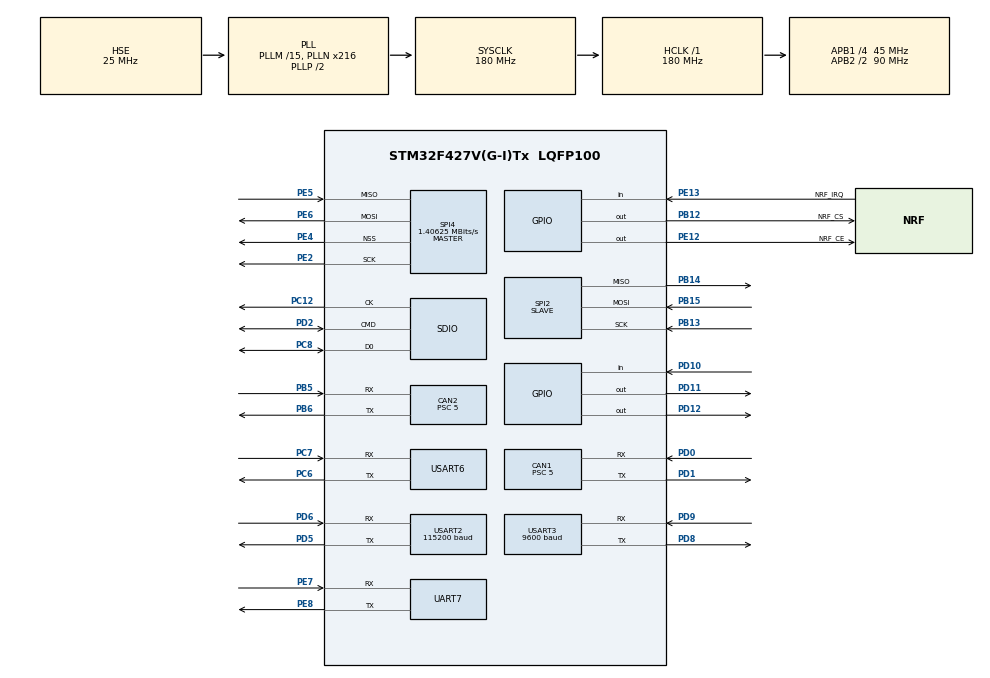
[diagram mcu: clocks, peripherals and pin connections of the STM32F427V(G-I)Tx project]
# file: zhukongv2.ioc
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CAN1.BS1=CAN_BS1_7TQ
CAN1.CalculateBaudRate=1000000
CAN1.CalculateTimeBit=1000
CAN1.CalculateTimeQuantum=111.11111111111111
CAN1.Prescaler=5
CAN1.RFLM=DISABLE
CAN2.BS1=CAN_BS1_7TQ
CAN2.CalculateBaudRate=1000000
CAN2.CalculateTimeBit=1000
CAN2.CalculateTimeQuantum=111.11111111111111
CAN2.Prescaler=5
CAN2.RFLM=DISABLE
Dma.Request0=USART6_RX
Dma.Request1=USART3_RX
Dma.USART3_RX.1.Direction=DMA_PERIPH_TO_MEMORY
Dma.USART3_RX.1.FIFOMode=DMA_FIFOMODE_DISABLE
Dma.USART3_RX.1.Instance=DMA1_Stream1
Dma.USART3_RX.1.MemDataAlignment=DMA_MDATAALIGN_BYTE
Dma.USART3_RX.1.MemInc=DMA_MINC_ENABLE
Dma.USART3_RX.1.Mode=DMA_CIRCULAR
Dma.USART3_RX.1.PeriphDataAlignment=DMA_PDATAALIGN_BYTE
Dma.USART3_RX.1.PeriphInc=DMA_PINC_DISABLE
Dma.USART3_RX.1.Priority=DMA_PRIORITY_LOW
Dma.USART6_RX.0.Direction=DMA_PERIPH_TO_MEMORY
Dma.USART6_RX.0.FIFOMode=DMA_FIFOMODE_DISABLE
Dma.USART6_RX.0.Instance=DMA2_Stream1
Dma.USART6_RX.0.MemDataAlignment=DMA_MDATAALIGN_BYTE
Dma.USART6_RX.0.MemInc=DMA_MINC_ENABLE
Dma.USART6_RX.0.Mode=DMA_CIRCULAR
Dma.USART6_RX.0.PeriphDataAlignment=DMA_PDATAALIGN_BYTE
Dma.USART6_RX.0.PeriphInc=DMA_PINC_DISABLE
Dma.USART6_RX.0.Priority=DMA_PRIORITY_LOW
FATFS._CODE_PAGE=936
FATFS._MAX_SS=4096
FATFS._USE_CHMOD=1
FATFS._USE_EXPAND=1
FATFS._USE_FIND=1
FATFS._USE_FORWARD=1
FATFS._USE_LABEL=1
FATFS._USE_LFN=2
FATFS._VOLUMES=2
FREERTOS.Tasks01=defaultTask,8,128,StartDefaultTask,Default,NULL,Dynamic,NULL,NULL;TrotForward,24,256,TrotForwardTask,Default,NULL,Dynamic,NULL,NULL;TrotBack,24,256,TrotBackTask,Default,NULL,Dynamic,NULL,NULL;RotateLeft,24,256,RotateLeftTask,Default,NULL,Dynamic,NULL,NULL;RotateRight,24,256,RotateRightTask,Default,NULL,Dynamic,NULL,NULL;MoveLeft,32,256,MoveLeftTask,Default,NULL,Dynamic,NULL,NULL;MoveRight,24,256,MoveRightTask,Default,NULL,Dynamic,NULL,NULL;JumpUp,24,256,JumpUpTask,Default,NULL,Dynamic,NULL,NULL;JumpForward,24,256,JumpForwardTask,Default,NULL,Dynamic,NULL,NULL;WalkSlope,24,512,WalkSlopeTask,Default,NULL,Dynamic,NULL,NULL;WalkSlope_LR,24,512,WalkSlopeLRTask,Default,NULL,Dynamic,NULL,NULL;Stand,24,128,StandTask,Default,NULL,Dynamic,NULL,NULL;ParseHandle,32,128,ParseHandleTask,Default,NULL,Dynamic,NULL,NULL;ParseIMU,32,128,ParseIMUTask,Default,NULL,Dynamic,NULL,NULL;NotifyAction,32,128,NotifyActionTask,Default,NULL,Dynamic,NULL,NULL;ParseCamera,32,128,ParseCameraTask,Default,NULL,Dynamic,NULL,NULL;TurnLeft,24,256,TurnLeftTask,Default,NULL,Dynamic,NULL,NULL;TurnRight,24,256,TurnRightTask,Default,NULL,Dynamic,NULL,NULL
FREERTOS.configCHECK_FOR_STACK_OVERFLOW=2
FREERTOS.configTOTAL_HEAP_SIZE=30000
Mcu.Family=STM32F4
Mcu.Name=STM32F427V(G-I)Tx
Mcu.Package=LQFP100
NVIC.CAN1_RX0_IRQn=true\:5\:0\:false\:false\:true\:true\:true\:true\:true
NVIC.CAN1_RX1_IRQn=true\:5\:0\:false\:false\:true\:true\:true\:true\:true
NVIC.CAN2_RX0_IRQn=true\:5\:0\:false\:false\:true\:true\:true\:true\:true
NVIC.CAN2_RX1_IRQn=true\:5\:0\:false\:false\:true\:true\:true\:true\:true
NVIC.DMA1_Stream1_IRQn=true\:5\:0\:false\:false\:true\:true\:false\:true\:true
NVIC.DMA2_Stream1_IRQn=true\:5\:0\:false\:false\:true\:true\:false\:true\:true
NVIC.PriorityGroup=NVIC_PRIORITYGROUP_4
NVIC.SDIO_IRQn=true\:5\:0\:false\:false\:true\:true\:true\:true\:true
NVIC.SPI4_IRQn=true\:5\:0\:false\:false\:true\:true\:true\:true\:true
NVIC.TIM2_IRQn=true\:5\:0\:true\:false\:true\:true\:true\:true\:true
NVIC.USART2_IRQn=true\:5\:0\:false\:false\:true\:true\:true\:true\:true
NVIC.USART3_IRQn=true\:5\:0\:false\:false\:true\:true\:true\:true\:true
NVIC.USART6_IRQn=true\:5\:0\:false\:false\:true\:true\:true\:true\:true
PA13.Mode=Serial_Wire
PA13.Signal=SYS_JTMS-SWDIO
PA14.Mode=Serial_Wire
PA14.Signal=SYS_JTCK-SWCLK
PB12.GPIO_Label=NRF_CS
PB12.GPIO_Speed=GPIO_SPEED_FREQ_HIGH
PB12.PinState=GPIO_PIN_SET
PB12.Signal=GPIO_Output
PB13.Mode=Full_Duplex_Slave
PB13.Signal=SPI2_SCK
PB14.Mode=Full_Duplex_Slave
PB14.Signal=SPI2_MISO
PB15.Mode=Full_Duplex_Slave
PB15.Signal=SPI2_MOSI
PB5.GPIO_PuPd=GPIO_NOPULL
PB5.Mode=CAN_Activate
PB5.Signal=CAN2_RX
PB6.GPIO_PuPd=GPIO_NOPULL
PB6.Mode=CAN_Activate
PB6.Signal=CAN2_TX
PC12.Mode=SD_1_bit
PC12.Signal=SDIO_CK
PC6.Mode=Asynchronous
PC6.Signal=USART6_TX
PC7.Mode=Asynchronous
PC7.Signal=USART6_RX
PC8.Mode=SD_1_bit
PC8.Signal=SDIO_D0
PD0.GPIO_PuPd=GPIO_NOPULL
PD0.Mode=CAN_Activate
PD0.Signal=CAN1_RX
PD1.GPIO_PuPd=GPIO_NOPULL
PD1.Mode=CAN_Activate
PD1.Signal=CAN1_TX
PD10.Signal=GPIO_Input
PD11.GPIO_PuPd=GPIO_PULLUP
PD11.Signal=GPIO_Output
PD12.GPIO_PuPd=GPIO_PULLUP
PD12.PinState=GPIO_PIN_SET
PD12.Signal=GPIO_Output
PD2.Mode=SD_1_bit
PD2.Signal=SDIO_CMD
PD5.Mode=Asynchronous
PD5.Signal=USART2_TX
PD6.Mode=Asynchronous
PD6.Signal=USART2_RX
PD8.Mode=Asynchronous
PD8.Signal=USART3_TX
PD9.Mode=Asynchronous
PD9.Signal=USART3_RX
PE12.GPIO_Label=NRF_CE
PE12.GPIO_Speed=GPIO_SPEED_FREQ_HIGH
PE12.PinState=GPIO_PIN_SET
PE12.Signal=GPIO_Output
PE13.GPIO_Label=NRF_IRQ
PE13.GPIO_PuPd=GPIO_PULLUP
PE13.Signal=GPIO_Input
PE2.Mode=Full_Duplex_Master
PE2.Signal=SPI4_SCK
PE4.Mode=NSS_Signal_Hard_Output
PE4.Signal=SPI4_NSS
PE5.Mode=Full_Duplex_Master
PE5.Signal=SPI4_MISO
PE6.Mode=Full_Duplex_Master
PE6.Signal=SPI4_MOSI
PE7.Mode=Asynchronous
PE7.Signal=UART7_RX
PE8.Mode=Asynchronous
PE8.Signal=UART7_TX
PH0/OSC_IN.Mode=HSE-External-Oscillator
PH0/OSC_IN.Signal=RCC_OSC_IN
PH1/OSC_OUT.Mode=HSE-External-Oscillator
PH1/OSC_OUT.Signal=RCC_OSC_OUT
ProjectManager.HeapSize=0x200
ProjectManager.StackSize=0x400
ProjectManager.TargetToolchain=EWARM V8.32
RCC.48MHZClocksFreq_Value=45000000
RCC.AHBFreq_Value=180000000
RCC.APB1CLKDivider=RCC_HCLK_DIV4
RCC.APB1Freq_Value=45000000
RCC.APB1TimFreq_Value=90000000
RCC.APB2CLKDivider=RCC_HCLK_DIV2
RCC.APB2Freq_Value=90000000
RCC.APB2TimFreq_Value=180000000
RCC.CortexFreq_Value=180000000
RCC.HCLKFreq_Value=180000000
RCC.HSE_VALUE=25000000
RCC.HSI_VALUE=16000000
RCC.LSE_VALUE=32768
RCC.PLLM=15
RCC.PLLN=216
RCC.PLLQ=8
RCC.PLLSourceVirtual=RCC_PLLSOURCE_HSE
RCC.SYSCLKFreq_VALUE=180000000
RCC.SYSCLKSource=RCC_SYSCLKSOURCE_PLLCLK
RCC.VCOOutputFreq_Value=360000000
SPI2.Direction=SPI_DIRECTION_2LINES
SPI2.Mode=SPI_MODE_SLAVE
SPI2.VirtualType=VM_SLAVE
SPI4.BaudRatePrescaler=SPI_BAUDRATEPRESCALER_64
SPI4.CalculateBaudRate=1.40625 MBits/s
SPI4.Direction=SPI_DIRECTION_2LINES
SPI4.Mode=SPI_MODE_MASTER
SPI4.VirtualNSS=VM_NSSHARD
SPI4.VirtualType=VM_MASTER
TIM2.AutoReloadPreload=TIM_AUTORELOAD_PRELOAD_ENABLE
TIM2.Channel-Output\ Compare1\ No\ Output=TIM_CHANNEL_1
TIM2.Period=199
TIM2.Prescaler=89
UART7.VirtualMode=Asynchronous
USART2.BaudRate=115200
USART2.VirtualMode=VM_ASYNC
USART3.BaudRate=9600
USART3.VirtualMode=VM_ASYNC
USART6.VirtualMode=VM_ASYNC
VP_FATFS_VS_Generic.Mode=User_defined
VP_FATFS_VS_SDIO.Mode=SDIO
VP_FREERTOS_VS_CMSIS_V2.Mode=CMSIS_V2
VP_TIM2_VS_no_output1.Mode=Output Compare1 No Output
board=custom

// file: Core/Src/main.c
/* USER CODE BEGIN Header */
/**
  ******************************************************************************
  * @file           : main.c
  * @brief          : Main program body
  ******************************************************************************
  * @attention
  *
  * Copyright (c) 2025 STMicroelectronics.
  * All rights reserved.
  *
  * This software is licensed under terms that can be found in the LICENSE file
  * in the root directory of this software component.
  * If no LICENSE file comes with this software, it is provided AS-IS.
  *
  ******************************************************************************
  */
/* USER CODE END Header */
#include "main.h"
#include "cmsis_os.h"
#include "can.h"
#include "dma.h"
#include "fatfs.h"
#include "sdio.h"
#include "spi.h"
#include "tim.h"
#include "usart.h"
#include "gpio.h"

/* USER CODE BEGIN Includes */

#include "DeepJ60_Motor.h"
#include "GaitController.h"
#include "Handle.h"
#include "imu.h"
#include "Camera.h"
#include "nrf.h"

/* USER CODE END Includes */

/* USER CODE BEGIN PV */

QueueHandle_t cmd_queue = NULL;
QueueHandle_t imu_queue = NULL;
QueueHandle_t camera_queue = NULL;
uint8_t rx_cmd[HANDLE_DATA_SIZE];

/* USER CODE END PV */

void SystemClock_Config(void);
void MX_FREERTOS_Init(void);

int main(void)
{

  /* MCU Configuration--------------------------------------------------------*/

  /* Reset of all peripherals, Initializes the Flash interface and the Systick. */
  HAL_Init();

  /* Configure the system clock */
  SystemClock_Config();

  /* Initialize all configured peripherals */
  MX_GPIO_Init();
  MX_DMA_Init();
  MX_CAN1_Init();
  MX_CAN2_Init();
  MX_SPI4_Init();
  MX_TIM2_Init();
  MX_SDIO_SD_Init();
  MX_FATFS_Init();
  MX_UART7_Init();
  MX_USART3_UART_Init();
  MX_USART6_UART_Init();
  MX_USART2_UART_Init();
  MX_SPI2_Init();
  /* USER CODE BEGIN 2 */

  HAL_Delay(4000);

  EnableJ60Motor(&J60Motor_CAN1[0], 1, 1); // lf out
  EnableJ60Motor(&J60Motor_CAN1[1], 2, 1); // lf in
  EnableJ60Motor(&J60Motor_CAN2[0], 1, 2); // rb out
  EnableJ60Motor(&J60Motor_CAN2[1], 2, 2); // rb in

  HAL_Delay(1);
  RunJ60Motor(&J60Motor_CAN1[0], J60Motor_StandUpData_CAN1[0], 0, 0, 20, 4, PositionMode);
  HAL_Delay(1);
  RunJ60Motor(&J60Motor_CAN1[1], J60Motor_StandUpData_CAN1[1], 0, 0, 20, 4, PositionMode);
  HAL_Delay(1);
  RunJ60Motor(&J60Motor_CAN2[0], J60Motor_StandUpData_CAN2[0], 0, 0, 20, 4, PositionMode);
  HAL_Delay(1);
  RunJ60Motor(&J60Motor_CAN2[1], J60Motor_StandUpData_CAN2[1], 0, 0, 20, 4, PositionMode);

  HAL_Delay(2000);

  HAL_UARTEx_ReceiveToIdle_DMA(&huart3, (uint8_t*)dma_buffer, DMA_BUFFER_SIZE);
  // HAL_UARTEx_Receive_DMA(&huart6, (uint8_t*)dma_buffer, DMA_BUFFER_SIZE);
  HAL_UART_Receive_IT(&huart2, (uint8_t*)rx_bytes, RX_BTYES_LENGTH);

  cmd_queue = xQueueCreate(10, sizeof(uint8_t) * HANDLE_DATA_SIZE);
  imu_queue = xQueueCreate(10, sizeof(uint8_t) * IMU_DATA_SIZE);
  camera_queue = xQueueCreate(10, sizeof(uint8_t) * RX_BTYES_LENGTH);

  /* USER CODE END 2 */

  /* Init scheduler */
  osKernelInitialize();

  /* Call init function for freertos objects (in cmsis_os2.c) */
  MX_FREERTOS_Init();

  /* Start scheduler */
  osKernelStart();

  /* We should never get here as control is now taken by the scheduler */

  /* Infinite loop */
  /* USER CODE BEGIN WHILE */
  while (1)
  {
      // HAL_Delay(1);
      // RunJ60Motor(&J60Motor_CAN1[0], 0, 0, 0, 0, 0, ZeroTorqueMode);
      // HAL_Delay(1);
      // RunJ60Motor(&J60Motor_CAN1[1], 0, 0, 0, 0, 0, ZeroTorqueMode);
      // HAL_Delay(1);
      // RunJ60Motor(&J60Motor_CAN2[0], 0, 0, 0, 0, 0, ZeroTorqueMode);
      // HAL_Delay(1);
      // RunJ60Motor(&J60Motor_CAN2[1], 0, 0, 0, 0, 0, ZeroTorqueMode);
    // HAL_UART_Receive(&huart3, (uint8_t*)dma_buffer, DMA_BUFFER_SIZE, 1000);
    // NRF24L01_RxPacket((uint8_t*)rx_cmd);
    /* USER CODE END WHILE */

  }
}

void SystemClock_Config(void)
{
  RCC_OscInitTypeDef RCC_OscInitStruct = {0};
  RCC_ClkInitTypeDef RCC_ClkInitStruct = {0};

  /** Configure the main internal regulator output voltage
  */
  __HAL_RCC_PWR_CLK_ENABLE();
  __HAL_PWR_VOLTAGESCALING_CONFIG(PWR_REGULATOR_VOLTAGE_SCALE1);

  /** Initializes the RCC Oscillators according to the specified parameters
  * in the RCC_OscInitTypeDef structure.
  */
  RCC_OscInitStruct.OscillatorType = RCC_OSCILLATORTYPE_HSE;
  RCC_OscInitStruct.HSEState = RCC_HSE_ON;
  RCC_OscInitStruct.PLL.PLLState = RCC_PLL_ON;
  RCC_OscInitStruct.PLL.PLLSource = RCC_PLLSOURCE_HSE;
  RCC_OscInitStruct.PLL.PLLM = 15;
  RCC_OscInitStruct.PLL.PLLN = 216;
  RCC_OscInitStruct.PLL.PLLP = RCC_PLLP_DIV2;
  RCC_OscInitStruct.PLL.PLLQ = 8;
  if (HAL_RCC_OscConfig(&RCC_OscInitStruct) != HAL_OK)
  {
    Error_Handler();
  }

  /** Activate the Over-Drive mode
  */
  if (HAL_PWREx_EnableOverDrive() != HAL_OK)
  {
    Error_Handler();
  }

  /** Initializes the CPU, AHB and APB buses clocks
  */
  RCC_ClkInitStruct.ClockType = RCC_CLOCKTYPE_HCLK|RCC_CLOCKTYPE_SYSCLK
                              |RCC_CLOCKTYPE_PCLK1|RCC_CLOCKTYPE_PCLK2;
  RCC_ClkInitStruct.SYSCLKSource = RCC_SYSCLKSOURCE_PLLCLK;
  RCC_ClkInitStruct.AHBCLKDivider = RCC_SYSCLK_DIV1;
  RCC_ClkInitStruct.APB1CLKDivider = RCC_HCLK_DIV4;
  RCC_ClkInitStruct.APB2CLKDivider = RCC_HCLK_DIV2;

  if (HAL_RCC_ClockConfig(&RCC_ClkInitStruct, FLASH_LATENCY_5) != HAL_OK)
  {
    Error_Handler();
  }
}

void Error_Handler(void)
{
  __disable_irq();
  while (1)
  {
  }
}

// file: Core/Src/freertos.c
/* USER CODE BEGIN Header */
/**
  ******************************************************************************
  * File Name          : freertos.c
  * Description        : Code for freertos applications
  ******************************************************************************
  * @attention
  *
  * Copyright (c) 2025 STMicroelectronics.
  * All rights reserved.
  *
  * This software is licensed under terms that can be found in the LICENSE file
  * in the root directory of this software component.
  * If no LICENSE file comes with this software, it is provided AS-IS.
  *
  ******************************************************************************
  */
/* USER CODE END Header */

#include "FreeRTOS.h"
#include "task.h"
#include "main.h"
#include "cmsis_os.h"

/* USER CODE BEGIN Includes */

#include "GaitController.h"
#include "Handle.h"
#include "imu.h"
#include "Camera.h"
#include "nrf.h"
#include "tim.h"
#include "math.h"
#include "param.h"
#include "foot_attitude_calculation.h"

/* USER CODE END Includes */

/* USER CODE BEGIN PM */

#define START_ACTION 2
#define END_ACTION 1
#define START_JUMP_1 3

#define INIT_TROT_LENGTH 0.2f
#define MAX_TROT_LENGTH 0.3f

/* USER CODE END PM */

/* USER CODE BEGIN Variables */

osThreadId_t TaskHandle = NULL;
int is_stack_overflow = 0;

float trot_length = INIT_TROT_LENGTH;

int tim_callback = 0;

//uint8_t rx_cmd[HANDLE_DATA_SIZE];

/* USER CODE END Variables */
/* Definitions for defaultTask */
osThreadId_t defaultTaskHandle;
const osThreadAttr_t defaultTask_attributes = {
  .name = "defaultTask",
  .stack_size = 128 * 4,
  .priority = (osPriority_t) osPriorityLow,
};
/* Definitions for TrotForward */
osThreadId_t TrotForwardHandle;
const osThreadAttr_t TrotForward_attributes = {
  .name = "TrotForward",
  .stack_size = 256 * 4,
  .priority = (osPriority_t) osPriorityNormal,
};
/* Definitions for TrotBack */
osThreadId_t TrotBackHandle;
const osThreadAttr_t TrotBack_attributes = {
  .name = "TrotBack",
  .stack_size = 256 * 4,
  .priority = (osPriority_t) osPriorityNormal,
};
/* Definitions for RotateLeft */
osThreadId_t RotateLeftHandle;
const osThreadAttr_t RotateLeft_attributes = {
  .name = "RotateLeft",
  .stack_size = 256 * 4,
  .priority = (osPriority_t) osPriorityNormal,
};
/* Definitions for RotateRight */
osThreadId_t RotateRightHandle;
const osThreadAttr_t RotateRight_attributes = {
  .name = "RotateRight",
  .stack_size = 256 * 4,
  .priority = (osPriority_t) osPriorityNormal,
};
/* Definitions for MoveLeft */
osThreadId_t MoveLeftHandle;
const osThreadAttr_t MoveLeft_attributes = {
  .name = "MoveLeft",
  .stack_size = 256 * 4,
  .priority = (osPriority_t) osPriorityAboveNormal,
};
/* Definitions for MoveRight */
osThreadId_t MoveRightHandle;
const osThreadAttr_t MoveRight_attributes = {
  .name = "MoveRight",
  .stack_size = 256 * 4,
  .priority = (osPriority_t) osPriorityNormal,
};
/* Definitions for JumpUp */
osThreadId_t JumpUpHandle;
const osThreadAttr_t JumpUp_attributes = {
  .name = "JumpUp",
  .stack_size = 256 * 4,
  .priority = (osPriority_t) osPriorityNormal,
};
/* Definitions for JumpForward */
osThreadId_t JumpForwardHandle;
const osThreadAttr_t JumpForward_attributes = {
  .name = "JumpForward",
  .stack_size = 256 * 4,
  .priority = (osPriority_t) osPriorityNormal,
};
/* Definitions for WalkSlope */
osThreadId_t WalkSlopeHandle;
const osThreadAttr_t WalkSlope_attributes = {
  .name = "WalkSlope",
  .stack_size = 512 * 4,
  .priority = (osPriority_t) osPriorityNormal,
};
/* Definitions for WalkSlope_LR */
osThreadId_t WalkSlope_LRHandle;
const osThreadAttr_t WalkSlope_LR_attributes = {
  .name = "WalkSlope_LR",
  .stack_size = 512 * 4,
  .priority = (osPriority_t) osPriorityNormal,
};
/* Definitions for Stand */
osThreadId_t StandHandle;
const osThreadAttr_t Stand_attributes = {
  .name = "Stand",
  .stack_size = 128 * 4,
  .priority = (osPriority_t) osPriorityNormal,
};
/* Definitions for ParseHandle */
osThreadId_t ParseHandleHandle;
const osThreadAttr_t ParseHandle_attributes = {
  .name = "ParseHandle",
  .stack_size = 128 * 4,
  .priority = (osPriority_t) osPriorityAboveNormal,
};
/* Definitions for ParseIMU */
osThreadId_t ParseIMUHandle;
const osThreadAttr_t ParseIMU_attributes = {
  .name = "ParseIMU",
  .stack_size = 128 * 4,
  .priority = (osPriority_t) osPriorityAboveNormal,
};
/* Definitions for NotifyAction */
osThreadId_t NotifyActionHandle;
const osThreadAttr_t NotifyAction_attributes = {
  .name = "NotifyAction",
  .stack_size = 128 * 4,
  .priority = (osPriority_t) osPriorityAboveNormal,
};
/* Definitions for ParseCamera */
osThreadId_t ParseCameraHandle;
const osThreadAttr_t ParseCamera_attributes = {
  .name = "ParseCamera",
  .stack_size = 128 * 4,
  .priority = (osPriority_t) osPriorityAboveNormal,
};
/* Definitions for TurnLeft */
osThreadId_t TurnLeftHandle;
const osThreadAttr_t TurnLeft_attributes = {
  .name = "TurnLeft",
  .stack_size = 256 * 4,
  .priority = (osPriority_t) osPriorityNormal,
};
/* Definitions for TurnRight */
osThreadId_t TurnRightHandle;
const osThreadAttr_t TurnRight_attributes = {
  .name = "TurnRight",
  .stack_size = 256 * 4,
  .priority = (osPriority_t) osPriorityNormal,
};

void StartDefaultTask(void *argument);
void TrotForwardTask(void *argument);
void TrotBackTask(void *argument);
void RotateLeftTask(void *argument);
void RotateRightTask(void *argument);
void MoveLeftTask(void *argument);
void MoveRightTask(void *argument);
void JumpUpTask(void *argument);
void JumpForwardTask(void *argument);
void WalkSlopeTask(void *argument);
void WalkSlopeLRTask(void *argument);
void StandTask(void *argument);
void ParseHandleTask(void *argument);
void ParseIMUTask(void *argument);
void NotifyActionTask(void *argument);
void ParseCameraTask(void *argument);
void TurnLeftTask(void *argument);
void TurnRightTask(void *argument);

void MX_FREERTOS_Init(void); /* (MISRA C 2004 rule 8.1) */

/* Hook prototypes */
void vApplicationStackOverflowHook(xTaskHandle xTask, signed char *pcTaskName);

/* USER CODE BEGIN 4 */
void vApplicationStackOverflowHook(xTaskHandle xTask, signed char *pcTaskName)
{
   /* Run time stack overflow checking is performed if
   configCHECK_FOR_STACK_OVERFLOW is defined to 1 or 2. This hook function is
   called if a stack overflow is detected. */
   is_stack_overflow = 1;
   while (1);
}
/* USER CODE END 4 */

void MX_FREERTOS_Init(void) {

  /* Create the thread(s) */
  /* creation of defaultTask */
  defaultTaskHandle = osThreadNew(StartDefaultTask, NULL, &defaultTask_attributes);

  /* creation of TrotForward */
  TrotForwardHandle = osThreadNew(TrotForwardTask, NULL, &TrotForward_attributes);

  /* creation of TrotBack */
  TrotBackHandle = osThreadNew(TrotBackTask, NULL, &TrotBack_attributes);

  /* creation of RotateLeft */
  RotateLeftHandle = osThreadNew(RotateLeftTask, NULL, &RotateLeft_attributes);

  /* creation of RotateRight */
  RotateRightHandle = osThreadNew(RotateRightTask, NULL, &RotateRight_attributes);

  /* creation of MoveLeft */
  MoveLeftHandle = osThreadNew(MoveLeftTask, NULL, &MoveLeft_attributes);

  /* creation of MoveRight */
  MoveRightHandle = osThreadNew(MoveRightTask, NULL, &MoveRight_attributes);

  /* creation of JumpUp */
  JumpUpHandle = osThreadNew(JumpUpTask, NULL, &JumpUp_attributes);

  /* creation of JumpForward */
  JumpForwardHandle = osThreadNew(JumpForwardTask, NULL, &JumpForward_attributes);

  /* creation of WalkSlope */
  WalkSlopeHandle = osThreadNew(WalkSlopeTask, NULL, &WalkSlope_attributes);

  /* creation of WalkSlope_LR */
  WalkSlope_LRHandle = osThreadNew(WalkSlopeLRTask, NULL, &WalkSlope_LR_attributes);

  /* creation of Stand */
  StandHandle = osThreadNew(StandTask, NULL, &Stand_attributes);

  /* creation of ParseHandle */
  ParseHandleHandle = osThreadNew(ParseHandleTask, NULL, &ParseHandle_attributes);

  /* creation of ParseIMU */
  ParseIMUHandle = osThreadNew(ParseIMUTask, NULL, &ParseIMU_attributes);

  /* creation of NotifyAction */
  NotifyActionHandle = osThreadNew(NotifyActionTask, NULL, &NotifyAction_attributes);

  /* creation of ParseCamera */
  ParseCameraHandle = osThreadNew(ParseCameraTask, NULL, &ParseCamera_attributes);

  /* creation of TurnLeft */
  TurnLeftHandle = osThreadNew(TurnLeftTask, NULL, &TurnLeft_attributes);

  /* creation of TurnRight */
  TurnRightHandle = osThreadNew(TurnRightTask, NULL, &TurnRight_attributes);

}

void StartDefaultTask(void *argument)
{
  for(;;)
  {
    osDelay(1);
  }
}

void TrotForwardTask(void *argument)
{
  /* USER CODE BEGIN TrotForwardTask */

  uint32_t notify_value = 0;
  float coef = trot_param.length / 125;
  float coef_turn = 0.1 / 125;
  float trot_height = 0.03;

  /* Infinite loop */
  for(;;)
  {
    if (xTaskNotifyWait(0, 0, &notify_value, 0) == pdTRUE) {
      if (notify_value == START_ACTION) {
        if (handle_command[0] == TROT_FORWARD_CMD || handle_command[0] == JUMP_UP_CMD) {
          if (trot_controller.trot_state == EndTrot) {
            trot_controller.trot_state = PreTrot;
            trot_controller.trot_direction = Forward;
            t = 0;
          }
        }
        else {
          if (turn_controller.turn_state == EndTurn) {
            turn_controller.turn_state = PreTurn;
            t = 0;
          }
        }
      }
      else if (notify_value == END_ACTION) {
        if (turn_controller.turn_state == Turning || trot_controller.trot_state == Trotting) {
          isStop = NEED_TO_STOP;
        }
      }

      if (turn_controller.turn_state != EndTurn) {

        trot_length = coef * abs(handle_command[2] - 125);

        if (handle_command[3] - 125 > 0) {
          turn_controller.turn_angular_direction = TurnRight;
          left_length = trot_length + coef_turn * abs(handle_command[3] - 125) / 2;
          right_length = trot_length - coef_turn * abs(handle_command[3] - 125) / 2;
          Turn_FSM(&turn_controller, right_length, left_length, 0.03, robot_height);
        }
        else if (handle_command[3] - 125 < 0) {
          turn_controller.turn_angular_direction = TurnLeft;
          left_length = trot_length - coef_turn * abs(handle_command[3] - 125) / 2;
          right_length = trot_length + coef_turn * abs(handle_command[3] - 125) / 2;
          Turn_FSM(&turn_controller, left_length, right_length, 0.03, robot_height);
        }
        else {
          Turn_FSM(&turn_controller, trot_length, trot_length, 0.03, robot_height);
        }

        if (turn_controller.turn_state != EndTurn) {
          __HAL_TIM_CLEAR_IT(&htim2, TIM_IT_UPDATE);
          __HAL_TIM_SET_COUNTER(&htim2, 0);
          HAL_TIM_Base_Start_IT(&htim2);
        }
      }
      if (trot_controller.trot_state != EndTrot) {

        if (robot_height < 0.2096) {
          trot_length = trot_param.length / 0.2096 * robot_height;
        }
        else {
          trot_length = trot_param.length;
        }
        trot_height = trot_param.height / 0.2096 * robot_height;
        Trot_FSM(&trot_controller, trot_height, trot_length, robot_height);
        // Trot_FSM(&trot_controller, 0.03, (0.0024 * abs(handle_command[2] - 125)), robot_height);

        if (trot_controller.trot_state != EndTrot) {
          __HAL_TIM_CLEAR_IT(&htim2, TIM_IT_UPDATE);
          __HAL_TIM_SET_COUNTER(&htim2, 0);
          HAL_TIM_Base_Start_IT(&htim2);
        }
      }

      notify_value = 0;
    }

    osDelay(1);
  }
  /* USER CODE END TrotForwardTask */
}

void TrotBackTask(void *argument)
{
  /* USER CODE BEGIN TrotBackTask */

  uint32_t notify_value = 0;
  float coef = trot_param.length / 125;

  /* Infinite loop */
  for(;;)
  {
    if (xTaskNotifyWait(0, 0, &notify_value, 0) == pdTRUE) {
      if (notify_value == START_ACTION) {
        if (trot_controller.trot_state == EndTrot) {
          trot_controller.trot_state = PreTrot;
          trot_controller.trot_direction = Back;
          t = 0;
        }
      }
      else if (notify_value == END_ACTION) {
        if (trot_controller.trot_state == Trotting) {
          isStop = NEED_TO_STOP;
        }
      }

      if (trot_controller.trot_state != EndTrot) {
        if (handle_command[0] == TROT_BACK_CMD || handle_command[0] == JUMP_FORWARD_CMD) {
          Trot_FSM(&trot_controller, trot_param.height, trot_param.length, robot_height);
        }
        else {
          Trot_FSM(&trot_controller, trot_param.height, (coef * abs(handle_command[2] - 125)), robot_height);
        }
        // Trot_FSM(&trot_controller, 0.03, trot_length, robot_height);
        // Trot_FSM(&trot_controller, 0.03, (coef * abs(handle_command[2] - 125)), robot_height);

        if (trot_controller.trot_state != EndTrot) {
          __HAL_TIM_CLEAR_IT(&htim2, TIM_IT_UPDATE);
          __HAL_TIM_SET_COUNTER(&htim2, 0);
          HAL_TIM_Base_Start_IT(&htim2);
        }
      }

      notify_value = 0;
    }

    osDelay(1);
  }
  /* USER CODE END TrotBackTask */
}

void RotateLeftTask(void *argument)
{
  /* USER CODE BEGIN RotateLeftTask */

  uint32_t notify_value = 0;

  /* Infinite loop */
  for(;;)
  {
    if (xTaskNotifyWait(0, 0, &notify_value, 0) == pdTRUE) {
      if (notify_value == START_ACTION) {
        if (rotate_controller.rotate_state == EndRotate) {
          rotate_controller.rotate_state = PreRotate;
          rotate_controller.rotate_direction = Left;
          t = 0;
        }
      }
      else if (notify_value == END_ACTION) {
        if (rotate_controller.rotate_state == Rotating) {
          isStop = NEED_TO_STOP;
        }
      }

      if (rotate_controller.rotate_state != EndRotate) {
        Rotate_FSM(&rotate_controller, rotate_param.height, rotate_param.length, robot_height);

        if (rotate_controller.rotate_state != EndRotate) {
          __HAL_TIM_CLEAR_IT(&htim2, TIM_IT_UPDATE);
          __HAL_TIM_SET_COUNTER(&htim2, 0);
          HAL_TIM_Base_Start_IT(&htim2);
        }
      }

      notify_value = 0;
    }

    osDelay(1);
  }
  /* USER CODE END RotateLeftTask */
}

void RotateRightTask(void *argument)
{
  /* USER CODE BEGIN RotateRightTask */

  uint32_t notify_value = 0;

  /* Infinite loop */
  for(;;)
  {
    if (xTaskNotifyWait(0, 0, &notify_value, 0) == pdTRUE) {
      if (notify_value == START_ACTION) {
        if (rotate_controller.rotate_state == EndRotate) {
          rotate_controller.rotate_state = PreRotate;
          rotate_controller.rotate_direction = Right;
          t = 0;
        }
      }
      else if (notify_value == END_ACTION) {
        if (rotate_controller.rotate_state == Rotating) {
          isStop = NEED_TO_STOP;
        }
      }

      if (rotate_controller.rotate_state != EndRotate) {
        Rotate_FSM(&rotate_controller, rotate_param.height, rotate_param.length, robot_height);

        if (rotate_controller.rotate_state != EndRotate) {
          __HAL_TIM_CLEAR_IT(&htim2, TIM_IT_UPDATE);
          __HAL_TIM_SET_COUNTER(&htim2, 0);
          HAL_TIM_Base_Start_IT(&htim2);
        }
      }

      notify_value = 0;
    }

    osDelay(1);
  }
  /* USER CODE END RotateRightTask */
}

void MoveLeftTask(void *argument)
{
  /* USER CODE BEGIN MoveLeftTask */

  uint32_t notify_value = 0;

  /* Infinite loop */
  for(;;)
  {
    if (xTaskNotifyWait(0, 0, &notify_value, 0) == pdTRUE) {
      if (notify_value == START_ACTION) {
        // if (turn_controller.turn_state == EndTurn) {
        //   turn_controller.turn_state = PreTurn;
        //   turn_controller.turn_angular_direction = TurnLeft;
        //   t = 0;
        // }
        if (move_controller.move_state == EndMove) {
          move_controller.move_state = PreMove;
          move_controller.move_direction = MoveLeft;
          t = 0;
        }
      }
      else if (notify_value == END_ACTION) {
        // if (turn_controller.turn_state == Turning) {
        //   isStop = NEED_TO_STOP;
        // }
        if (move_controller.move_state == Moving) {
          isStop = NEED_TO_STOP;
        }
      }

      // if (turn_controller.turn_state != EndTurn) {
      //   Turn_FSM(&turn_controller, 0.04, 0.1, 0.03, robot_height);

      //   if (turn_controller.turn_state != EndTurn) {
      //     __HAL_TIM_CLEAR_IT(&htim2, TIM_IT_UPDATE);
      //     __HAL_TIM_SET_COUNTER(&htim2, 0);
      //     HAL_TIM_Base_Start_IT(&htim2);
      //   }
      // }

      if (move_controller.move_state != EndMove) {
        HorizontalMove_FSM(&move_controller, robot_height + 0.03, robot_height - 0.03, robot_height, 0.04);

        if (move_controller.move_state != EndMove) {
          __HAL_TIM_CLEAR_IT(&htim2, TIM_IT_UPDATE);
          __HAL_TIM_SET_COUNTER(&htim2, 0);
          HAL_TIM_Base_Start_IT(&htim2);
        }
      }

      notify_value = 0;
    }

    osDelay(1);
  }
  /* USER CODE END MoveLeftTask */
}

void MoveRightTask(void *argument)
{
  /* USER CODE BEGIN MoveRightTask */

  uint32_t notify_value = 0;

  /* Infinite loop */
  for(;;)
  {
    if (xTaskNotifyWait(0, 0, &notify_value, 0) == pdTRUE) {
      if (notify_value == START_ACTION) {
        // if (turn_controller.turn_state == EndTurn) {
        //   turn_controller.turn_state = PreTurn;
        //   turn_controller.turn_angular_direction = TurnRight;
        //   t = 0;
        // }
        if (move_controller.move_state == EndMove) {
          move_controller.move_state = PreMove;
          move_controller.move_direction = MoveRight;
          t = 0;
        }
      }
      else if (notify_value == END_ACTION) {
        // if (turn_controller.turn_state == Turning) {
        //   isStop = NEED_TO_STOP;
        // }
        if (move_controller.move_state == Moving) {
          isStop = NEED_TO_STOP;
        }
      }

      // if (turn_controller.turn_state != EndTurn) {
      //   Turn_FSM(&turn_controller, 0.04, 0.1, 0.03, robot_height);

      //   if (turn_controller.turn_state != EndTurn) {
      //     __HAL_TIM_CLEAR_IT(&htim2, TIM_IT_UPDATE);
      //     __HAL_TIM_SET_COUNTER(&htim2, 0);
      //     HAL_TIM_Base_Start_IT(&htim2);
      //   }
      // }

      if (move_controller.move_state != EndMove) {
        HorizontalMove_FSM(&move_controller, robot_height + 0.03, robot_height - 0.03, robot_height, 0.04);

        if (move_controller.move_state != EndMove) {
          __HAL_TIM_CLEAR_IT(&htim2, TIM_IT_UPDATE);
          __HAL_TIM_SET_COUNTER(&htim2, 0);
          HAL_TIM_Base_Start_IT(&htim2);
        }
      }

      notify_value = 0;
    }

    osDelay(1);
  }
  /* USER CODE END MoveRightTask */
}

void JumpUpTask(void *argument)
{
  /* USER CODE BEGIN JumpUpTask */

  const TickType_t freq = pdMS_TO_TICKS(10);
  TickType_t last_time = xTaskGetTickCount();
  uint32_t notify_value = 0;

  /* Infinite loop */
  for(;;)
  {
    if (xTaskNotifyWait(0, 0, &notify_value, 0) == pdTRUE) {
      if (notify_value == START_ACTION) {
        if (jump_up_controller.jump_state == EndJump) {
          jump_up_controller.jump_state = Squat;
          t = 0;
        }
      }
    }

    if (jump_up_controller.jump_state != EndJump) {
      JumpUp_FSM(&jump_up_controller);

      if (jump_up_controller.jump_state != EndJump && jump_up_controller.jump_state != Land && jump_up_controller.jump_state != JumpUp) {
        vTaskDelayUntil(&last_time, freq);
        t += JUMP_T;
      }
    }

    osDelay(1);
  }
  /* USER CODE END JumpUpTask */
}

void JumpForwardTask(void *argument)
{
  /* USER CODE BEGIN JumpForwardTask */

  const TickType_t freq = pdMS_TO_TICKS(10);
  TickType_t last_time = xTaskGetTickCount();
  uint32_t notify_value = 0;

  /* Infinite loop */
  for(;;)
  {
    if (xTaskNotifyWait(0, 0, &notify_value, 0) == pdTRUE) {
      if (notify_value == START_ACTION) {
        if (jump_forward_controller.jump_state == EndJump) {
          jump_forward_controller.jump_state = Squat;
          t = 0;
        }
        // else if (jump_forward_controller.jump_state == Squat) {
        //   jump_forward_controller.jump_state = JumpUp;
        //   t = 0;
        // }
      }
      // else if (notify_value == START_JUMP_1) {
      //   if (jump_forward_controller.jump_state == EndJump) {
      //     jump_forward_controller.jump_state = Squat;
      //     t = 0;
      //   }
      // }
    }

    if (jump_forward_controller.jump_state != EndJump) {
      JumpForward_FSM(&jump_forward_controller);

      if (jump_forward_controller.jump_state != EndJump && jump_forward_controller.jump_state != Land && jump_forward_controller.jump_state != JumpUp) {
        vTaskDelayUntil(&last_time, freq);
        t += JUMP_T;
      }
    }

    osDelay(1);
  }
  /* USER CODE END JumpForwardTask */
}

void WalkSlopeTask(void *argument)
{
  /* USER CODE BEGIN WalkSlopeTask */

  uint32_t notify_value = 0;

  /* Infinite loop */
  for(;;)
  {
    if (xTaskNotifyWait(0, 0, &notify_value, 0) == pdTRUE) {
      if (notify_value == START_ACTION) {
        if (walk_slope_controller.trot_state == EndTrot) {
          walk_slope_controller.trot_state = PreTrot;
          walk_slope_controller.trot_direction = Forward;
          t = 0;
        }
      }
      else if (notify_value == END_ACTION) {
        if (walk_slope_controller.trot_state == Trotting) {
          isStop = NEED_TO_STOP;
        }
      }

      if (walk_slope_controller.trot_state != EndTrot) {
        WalkSlope_FSM(&walk_slope_controller, (1.0 / 3), 0.4, robot_height, 0.12, 0.04);

        if (walk_slope_controller.trot_state != EndTrot) {
          __HAL_TIM_CLEAR_IT(&htim2, TIM_IT_UPDATE);
          __HAL_TIM_SET_COUNTER(&htim2, 0);
          HAL_TIM_Base_Start_IT(&htim2);
        }
      }

      notify_value = 0;
    }

    osDelay(1);
  }
  /* USER CODE END WalkSlopeTask */
}

void WalkSlopeLRTask(void *argument)
{
  /* USER CODE BEGIN WalkSlopeLRTask */

  uint32_t notify_value = 0;

  /* Infinite loop */
  for(;;)
  {
    if (xTaskNotifyWait(0, 0, &notify_value, 0) == pdTRUE) {
      if (notify_value == START_ACTION) {
        if (walk_LR_slope_controller.trot_state == EndTrot) {
          walk_LR_slope_controller.trot_state = PreTrot;
          walk_LR_slope_controller.trot_direction = Forward;
          t = 0;
        }
      }
      else if (notify_value == END_ACTION) {
        if (walk_LR_slope_controller.trot_state == Trotting) {
          isStop = NEED_TO_STOP;
        }
      }

      if (walk_LR_slope_controller.trot_state != EndTrot) {
        WalkSlope_LR_FSM(&walk_LR_slope_controller, 0.268, 0.4, robot_height, 0.12, 0.09378);

        if (walk_LR_slope_controller.trot_state != EndTrot) {
          __HAL_TIM_CLEAR_IT(&htim2, TIM_IT_UPDATE);
          __HAL_TIM_SET_COUNTER(&htim2, 0);
          HAL_TIM_Base_Start_IT(&htim2);
        }
      }

      notify_value = 0;
    }

    osDelay(1);
  }
  /* USER CODE END WalkSlopeLRTask */
}

void StandTask(void *argument)
{
  /* USER CODE BEGIN StandTask */
  /* Infinite loop */
  for(;;)
  {
    if (trot_controller.trot_state == EndTrot && rotate_controller.rotate_state == EndRotate &&
        jump_up_controller.jump_state == EndJump && jump_forward_controller.jump_state == EndJump &&
        turn_controller.turn_state == EndTurn && walk_slope_controller.trot_state == EndTrot &&
        walk_LR_slope_controller.trot_state == EndTrot && move_controller.move_state == EndMove) {

      if (isSlope == NO_SLOPE) {
        Stand();
		  //trot_length = 0.2;
      }
      else if (isSlope == SLOPE) {
        Stand_on_slope(tan_slope_theta);
      }
      else if (isSlope == SLOPE_LR) {
        Stand_on_LR_slope(tan_LR_slope_theta);
      }
    }

    osDelay(10);
  }
  /* USER CODE END StandTask */
}

void ParseHandleTask(void *argument)
{
  /* USER CODE BEGIN ParseHandleTask */

  uint8_t rx_cmd[HANDLE_DATA_SIZE];
  uint8_t last_handle_command[CMD_SIZE] = {0};

  /* Infinite loop */
  for(;;)
  {
    if (xQueueReceive(cmd_queue, rx_cmd, portMAX_DELAY) == pdPASS) {
      if (CheckRxData(rx_cmd) == CMD_NORMAL) {
        ParseHandle(rx_cmd, handle_command);
        if (
          (last_handle_command[0] == STOP_CMD && handle_command[0] != STOP_CMD &&
          handle_command[0] != JUMP_UP_CMD && handle_command[0] != JUMP_FORWARD_CMD) ||
          (last_handle_command[2] == 125 && handle_command[2] != 125) ||
          (handle_command[1] == MODE_5 && last_handle_command[0] == STOP_CMD && handle_command[0] != STOP_CMD)) {

		      __HAL_TIM_CLEAR_IT(&htim2, TIM_IT_UPDATE);
          __HAL_TIM_SET_COUNTER(&htim2, 0);
          HAL_TIM_Base_Start_IT(&htim2);
        }

        memcpy(last_handle_command, handle_command, sizeof(handle_command));
      }
    }

    osDelay(1);
  }
  /* USER CODE END ParseHandleTask */
}

void ParseIMUTask(void *argument)
{
  /* USER CODE BEGIN ParseIMUTask */

  /* Infinite loop */
  for(;;)
  {
    // for(uint8_t i = 0; i < 23; i++) {
		// 	HAL_UART_Receive(&huart2, imu_rx_data + i, 1, 10);
		// }

    // Q_Value.x.val_32bit=u8_to_u32(imu_rx_data[7],imu_rx_data[6],imu_rx_data[5],imu_rx_data[4]);
		// Q_Value.y.val_32bit=u8_to_u32(imu_rx_data[11],imu_rx_data[10],imu_rx_data[9],imu_rx_data[8]);
		// Q_Value.z.val_32bit=u8_to_u32(imu_rx_data[15],imu_rx_data[14],imu_rx_data[13],imu_rx_data[12]);
		// Q_Value.w.val_32bit=u8_to_u32(imu_rx_data[19],imu_rx_data[18],imu_rx_data[17],imu_rx_data[16]);

		// IMU_quaterToEulerianAngles();

    // angle_to_position();

    osDelay(1);
  }
  /* USER CODE END ParseIMUTask */
}

void NotifyActionTask(void *argument)
{
  /* USER CODE BEGIN NotifyActionTask */

  uint8_t last_handle_command[CMD_SIZE] = {0};

  /* Infinite loop */
  for(;;)
  {
    if (t != pre_t) {
      if (handle_command[1] == MODE_1) {  // 正常行走，旋�?
        if (handle_command[0] == TROT_FORWARD_CMD || handle_command[2] - 125 < 0) {  // 前进
          if (TaskHandle != TrotForwardHandle) {
            trot_param.length = 0.3;
            trot_param.height = 0.03;
            trot_param.Kp = 100;
            trot_param.Kd = 4;
          }
          TaskHandle = TrotForwardHandle;
          xTaskNotify((TaskHandle_t)TrotForwardHandle, START_ACTION, eSetValueWithoutOverwrite);
        }
        else if (handle_command[0] == TROT_BACK_CMD || handle_command[2] - 125 > 0) {  // 后退
          if (TaskHandle != TrotBackHandle) {
            trot_param.length = 0.3;
            trot_param.height = 0.03;
            trot_param.Kp = 100;
            trot_param.Kd = 4;
          }
          TaskHandle = TrotBackHandle;
          xTaskNotify((TaskHandle_t)TrotBackHandle, START_ACTION, eSetValueWithOverwrite);
        }
        else if (handle_command[0] == ROTATE_LEFT_CMD) {  // 左旋转
          if (TaskHandle != RotateLeftHandle) {
            rotate_param.length = 0.2;
            rotate_param.height = 0.03;
            rotate_param.Kp = 100;
            rotate_param.Kd = 4;
          }
          TaskHandle = RotateLeftHandle;
          xTaskNotify((TaskHandle_t)RotateLeftHandle, START_ACTION, eSetValueWithOverwrite);
        }
        else if (handle_command[0] == ROTATE_RIGHT_CMD) {  // 右旋转
          if (TaskHandle != RotateRightHandle) {
            rotate_param.length = 0.2;
            rotate_param.height = 0.03;
            rotate_param.Kp = 100;
            rotate_param.Kd = 4;
          }
          TaskHandle = RotateRightHandle;
          xTaskNotify((TaskHandle_t)RotateRightHandle, START_ACTION, eSetValueWithOverwrite);
        }
        else if (handle_command[0] == MOVE_LEFT_CMD) {  // 左转弯
          TaskHandle = TurnLeftHandle;
          xTaskNotify((TaskHandle_t)TurnLeftHandle, START_ACTION, eSetValueWithOverwrite);
        }
        else if (handle_command[0] == MOVE_RIGHT_CMD) {  // 右转弯
          TaskHandle = TurnRightHandle;
          xTaskNotify((TaskHandle_t)TurnRightHandle, START_ACTION, eSetValueWithOverwrite);
        }
        else if (handle_command[0] == STOP_CMD) {  // 停止
          if (TaskHandle != NULL) {
            xTaskNotify((TaskHandle_t)TaskHandle, END_ACTION, eSetValueWithOverwrite);
          }
        }
      }
      else if (handle_command[1] == MODE_2) {  // 斜坡、横移
        if (handle_command[0] == TROT_FORWARD_CMD) {  // 斜坡
          if (isSlope == SLOPE) {  // 前后斜坡
            TaskHandle = WalkSlopeHandle;
            xTaskNotify((TaskHandle_t)WalkSlopeHandle, START_ACTION, eSetValueWithoutOverwrite);
          }
          else if (isSlope == SLOPE_LR) {  // 左右斜坡
            TaskHandle = WalkSlope_LRHandle;
            xTaskNotify((TaskHandle_t)WalkSlope_LRHandle, START_ACTION, eSetValueWithoutOverwrite);
          }
          else {  // 正常
            trot_param.length = 0.3;
            trot_param.height = 0.03;
            trot_param.Kp = 100;
            trot_param.Kd = 4;
            TaskHandle = TrotForwardHandle;
            xTaskNotify((TaskHandle_t)TrotForwardHandle, START_ACTION, eSetValueWithoutOverwrite);
          }
        }
        else if (handle_command[2] - 125 < 0) {  // 前进摇杆
          trot_param.length = 0.3;
          trot_param.height = 0.03;
          trot_param.Kp = 100;
          trot_param.Kd = 4;
          TaskHandle = TrotForwardHandle;
          xTaskNotify((TaskHandle_t)TrotForwardHandle, START_ACTION, eSetValueWithoutOverwrite);
        }
        else if (handle_command[0] == TROT_BACK_CMD || handle_command[2] - 125 > 0) {  // 后�??
          trot_param.length = 0.3;
          trot_param.height = 0.03;
          trot_param.Kp = 100;
          trot_param.Kd = 4;
          TaskHandle = TrotBackHandle;
          xTaskNotify((TaskHandle_t)TrotBackHandle, START_ACTION, eSetValueWithOverwrite);
        }
        else if (handle_command[0] == ROTATE_LEFT_CMD) {  // 左横移
          TaskHandle = MoveLeftHandle;
          xTaskNotify((TaskHandle_t)MoveLeftHandle, START_ACTION, eSetValueWithOverwrite);
        }
        else if (handle_command[0] == ROTATE_RIGHT_CMD) {  // 右横移
          TaskHandle = MoveRightHandle;
          xTaskNotify((TaskHandle_t)MoveRightHandle, START_ACTION, eSetValueWithOverwrite);
        }
        else if (handle_command[0] == STOP_CMD) {  // 停止
          if (TaskHandle != NULL) {
            xTaskNotify((TaskHandle_t)TaskHandle, END_ACTION, eSetValueWithOverwrite);
          }
        }
      }
      else if (handle_command[1] == MODE_3) {  // 跳跃相关
        if (handle_command[0] == TROT_FORWARD_CMD || handle_command[2] - 125 < 0) {  // 前进
          trot_param.length = 0.3;
          trot_param.height = 0.03;
          trot_param.Kp = 100;
          trot_param.Kd = 4;
          TaskHandle = TrotForwardHandle;
          xTaskNotify((TaskHandle_t)TrotForwardHandle, START_ACTION, eSetValueWithoutOverwrite);
        }
        else if (handle_command[0] == TROT_BACK_CMD || handle_command[2] - 125 > 0) {  // 后退
          trot_param.length = 0.3;
          trot_param.height = 0.03;
          trot_param.Kp = 100;
          trot_param.Kd = 4;
          TaskHandle = TrotBackHandle;
          xTaskNotify((TaskHandle_t)TrotBackHandle, START_ACTION, eSetValueWithOverwrite);
        }
        else if (handle_command[0] == ROTATE_LEFT_CMD) {  // 左旋�?
          rotate_param.length = 0.2;
          rotate_param.height = 0.03;
          rotate_param.Kp = 100;
          rotate_param.Kd = 4;
          TaskHandle = RotateLeftHandle;
          xTaskNotify((TaskHandle_t)RotateLeftHandle, START_ACTION, eSetValueWithOverwrite);
        }
        else if (handle_command[0] == ROTATE_RIGHT_CMD) {  // 右旋�?
          rotate_param.length = 0.2;
          rotate_param.height = 0.03;
          rotate_param.Kp = 100;
          rotate_param.Kd = 4;
          TaskHandle = RotateRightHandle;
          xTaskNotify((TaskHandle_t)RotateRightHandle, START_ACTION, eSetValueWithOverwrite);
        }
        else if (handle_command[0] == STOP_CMD) {  // 停止
          if (TaskHandle != NULL) {
            xTaskNotify((TaskHandle_t)TaskHandle, END_ACTION, eSetValueWithOverwrite);
          }
        }
      }
      // else if (handle_command[1] == MODE_4) {
      //   if (handle_command[0] == TROT_FORWARD_CMD || handle_command[2] - 125 < 0) {
      //     TaskHandle = TrotForwardHandle;
      //     xTaskNotify((TaskHandle_t)TrotForwardHandle, START_ACTION, eSetValueWithoutOverwrite);
      //   }
      //   else if (handle_command[0] == TROT_BACK_CMD || handle_command[2] - 125 > 0) {
      //     TaskHandle = TrotBackHandle;
      //     xTaskNotify((TaskHandle_t)TrotBackHandle, START_ACTION, eSetValueWithOverwrite);
      //   }
      //   else if (handle_command[0] == ROTATE_LEFT_CMD) {  // 左旋�?
      //     TaskHandle = RotateLeftHandle;
      //     xTaskNotify((TaskHandle_t)RotateLeftHandle, START_ACTION, eSetValueWithOverwrite);
      //   }
      //   else if (handle_command[0] == ROTATE_RIGHT_CMD) {  // 右旋�?
      //     TaskHandle = RotateRightHandle;
      //     xTaskNotify((TaskHandle_t)RotateRightHandle, START_ACTION, eSetValueWithOverwrite);
      //   }
      //   else if (handle_command[0] == STOP_CMD) {  // 停止
      //     if (TaskHandle != NULL) {
      //       xTaskNotify((TaskHandle_t)TaskHandle, END_ACTION, eSetValueWithOverwrite);
      //     }
      //   }
      // }
      else if (handle_command[1] == MODE_5) {
        if (handle_command[0] == TROT_FORWARD_CMD || handle_command[2] - 125 < 0) {
          trot_param.length = 0.3;
          trot_param.height = 0.03;
          trot_param.Kp = 100;
          trot_param.Kd = 4;
          TaskHandle = TrotForwardHandle;
          xTaskNotify((TaskHandle_t)TrotForwardHandle, START_ACTION, eSetValueWithoutOverwrite);
        }
        else if (handle_command[0] == TROT_BACK_CMD || handle_command[2] - 125 > 0) {
          trot_param.length = 0.3;
          trot_param.height = 0.03;
          trot_param.Kp = 100;
          trot_param.Kd = 4;
          TaskHandle = TrotBackHandle;
          xTaskNotify((TaskHandle_t)TrotBackHandle, START_ACTION, eSetValueWithOverwrite);
        }
        else if (handle_command[0] == ROTATE_LEFT_CMD) {  // 左旋�?
          rotate_param.length = 0.2;
          rotate_param.height = 0.03;
          rotate_param.Kp = 100;
          rotate_param.Kd = 4;
          TaskHandle = RotateLeftHandle;
          xTaskNotify((TaskHandle_t)RotateLeftHandle, START_ACTION, eSetValueWithOverwrite);
        }
        else if (handle_command[0] == ROTATE_RIGHT_CMD) {  // 右旋�?
          rotate_param.length = 0.2;
          rotate_param.height = 0.03;
          rotate_param.Kp = 100;
          rotate_param.Kd = 4;
          TaskHandle = RotateRightHandle;
          xTaskNotify((TaskHandle_t)RotateRightHandle, START_ACTION, eSetValueWithOverwrite);
        }
        else if (handle_command[0] == JUMP_UP_CMD) {
          trot_param.length = 0.1;
          trot_param.height = 0.03;
          trot_param.Kp = 35;
          trot_param.Kd = 4;
          TaskHandle = TrotForwardHandle;
          xTaskNotify((TaskHandle_t)TrotForwardHandle, START_ACTION, eSetValueWithoutOverwrite);
        }
        else if (handle_command[0] == JUMP_FORWARD_CMD) {
          trot_param.length = 0.1;
          trot_param.height = 0.03;
          trot_param.Kp = 35;
          trot_param.Kd = 4;
          TaskHandle = TrotBackHandle;
          xTaskNotify((TaskHandle_t)TrotBackHandle, START_ACTION, eSetValueWithOverwrite);
        }
        else if (handle_command[0] == MOVE_LEFT_CMD) {
          rotate_param.length = 0.1;
          rotate_param.height = 0.03;
          rotate_param.Kp = 35;
          rotate_param.Kd = 4;
          TaskHandle = RotateLeftHandle;
          xTaskNotify((TaskHandle_t)RotateLeftHandle, START_ACTION, eSetValueWithOverwrite);
        }
        else if (handle_command[0] == MOVE_RIGHT_CMD) {
          rotate_param.length = 0.1;
          rotate_param.height = 0.03;
          rotate_param.Kp = 35;
          rotate_param.Kd = 4;
          TaskHandle = RotateRightHandle;
          xTaskNotify((TaskHandle_t)RotateRightHandle, START_ACTION, eSetValueWithOverwrite);
        }
        else if (handle_command[0] == STOP_CMD) {  // 停止
          if (TaskHandle != NULL) {
            xTaskNotify((TaskHandle_t)TaskHandle, END_ACTION, eSetValueWithOverwrite);
          }
        }
      }

      pre_t = t;
    }

    if (CompareCommand(last_handle_command, handle_command) != 0) {
      if (handle_command[1] == MODE_2) {  // 斜坡切换
        if (handle_command[0] == JUMP_UP_CMD) {
          isSlope = NO_SLOPE;
        }
        else if (handle_command[0] == MOVE_LEFT_CMD) {
          isSlope = SLOPE;
        }
        else if (handle_command[0] == MOVE_RIGHT_CMD) {
          isSlope = SLOPE_LR;
        }
      }
      else if (handle_command[1] == MODE_3) {  // 跳跃相关
        if (handle_command[0] == JUMP_FORWARD_CMD) {
          // 跳高�?
          is_jump_stair = 0;
          squat_l0 = jump_wall_param.squat_l0;
          squat_l1 = jump_wall_param.squat_l1;
          jump_l0 = jump_wall_param.jump_l0;
          jump_l1 = jump_wall_param.jump_l1;
          tilt_l0 = jump_wall_param.tilt_l0;
          tilt_l1 = jump_wall_param.tilt_l1;
          jump_Kp = jump_wall_param.Kp;
          jump_Kd = jump_wall_param.Kd;
          TaskHandle = JumpForwardHandle;
          xTaskNotify((TaskHandle_t)JumpForwardHandle, START_ACTION, eSetValueWithOverwrite);
        }
        else if (handle_command[0] == MOVE_LEFT_CMD) {
          // 跳阶�?
          is_jump_stair = 1;
          squat_l0 = jump_stair_param.squat_l0;
          squat_l1 = jump_stair_param.squat_l1;
          jump_l0 = jump_stair_param.jump_l0;
          jump_l1 = jump_stair_param.jump_l1;
          tilt_l0 = jump_stair_param.tilt_l0;
          tilt_l1 = jump_stair_param.tilt_l1;
          jump_Kp = jump_stair_param.Kp;
          jump_Kd = jump_stair_param.Kd;
          TaskHandle = JumpForwardHandle;
          xTaskNotify((TaskHandle_t)JumpForwardHandle, START_ACTION, eSetValueWithOverwrite);
        }
        else if (handle_command[0] == MOVE_RIGHT_CMD) {
          // 跳断�?
          is_jump_stair = 0;
          squat_l0 = jump_breakbrigde_param.squat_l0;
          squat_l1 = jump_breakbrigde_param.squat_l1;
          jump_l0 = jump_breakbrigde_param.jump_l0;
          jump_l1 = jump_breakbrigde_param.jump_l1;
          tilt_l0 = jump_breakbrigde_param.tilt_l0;
          tilt_l1 = jump_breakbrigde_param.tilt_l1;
          jump_Kp = jump_breakbrigde_param.Kp;
          jump_Kd = jump_breakbrigde_param.Kd;
          TaskHandle = JumpForwardHandle;
          xTaskNotify((TaskHandle_t)JumpForwardHandle, START_ACTION, eSetValueWithOverwrite);
        }
        else if (handle_command[0] == JUMP_UP_CMD) {
          // 第一次跳阶梯
          is_jump_stair = 1;
          squat_l0 = jump_first_stair_param.squat_l0;
          squat_l1 = jump_first_stair_param.squat_l1;
          jump_l0 = jump_first_stair_param.jump_l0;
          jump_l1 = jump_first_stair_param.jump_l1;
          tilt_l0 = jump_first_stair_param.tilt_l0;
          tilt_l1 = jump_first_stair_param.tilt_l1;
          jump_Kp = jump_first_stair_param.Kp;
          jump_Kd = jump_first_stair_param.Kd;
          TaskHandle = JumpForwardHandle;
          xTaskNotify((TaskHandle_t)JumpForwardHandle, START_ACTION, eSetValueWithOverwrite);
        }
      }
      else if (handle_command[1] == MODE_4) {
        if (handle_command[0] == TROT_FORWARD_CMD) {
          trot_param.length += 0.05;
        }
        else if (handle_command[0] == TROT_BACK_CMD) {
          trot_param.length -= 0.05;
        }
        else if (handle_command[0] == ROTATE_LEFT_CMD) {
          trot_param.height += 0.01;
        }
        else if (handle_command[0] == ROTATE_RIGHT_CMD) {
          trot_param.height -= 0.01;
        }
        else if (handle_command[0] == JUMP_UP_CMD) {
          rotate_param.length += 0.05;
        }
        else if (handle_command[0] == JUMP_FORWARD_CMD) {
          rotate_param.length -= 0.05;
        }
        else if (handle_command[0] == MOVE_LEFT_CMD) {
          rotate_param.height += 0.01;
        }
        else if (handle_command[0] == MOVE_RIGHT_CMD) {
          rotate_param.height -= 0.01;
        }
      }
      // else if (handle_command[1] == MODE_5) {

      // }
      // else if (handle_command[0] == MODE_1) {

      // }

      if (handle_command[0] == STOP_CMD && ((handle_command[1] & 0xF0) == BECOME_HIGHER)) {
        robot_height += 0.01;
        TaskHandle = NULL;
      }
      else if (handle_command[0] == STOP_CMD && ((handle_command[1] & 0xF0) == BECOME_LOWWER)) {
        robot_height -= 0.01;
        TaskHandle = NULL;
      }
    }

    memcpy(last_handle_command, handle_command, sizeof(handle_command));

    osDelay(1);
  }
  /* USER CODE END NotifyActionTask */
}

void ParseCameraTask(void *argument)
{
  /* USER CODE BEGIN ParseCameraTask */

  uint8_t rx_camera[RX_BTYES_LENGTH];

  /* Infinite loop */
  for(;;)
  {
    // if (xQueueReceive(camera_queue, rx_camera, portMAX_DELAY) == pdPASS) {
    //   if (check_rx_bytes(rx_camera) == RX_NORMAL) {
    //     parse_camera_bytes(rx_camera);
    //   }
    // }
    if (check_rx_bytes(rx_bytes)) {
      parse_camera_bytes(rx_bytes);
    }
    osDelay(1);
  }
  /* USER CODE END ParseCameraTask */
}

void TurnLeftTask(void *argument)
{
  /* USER CODE BEGIN TurnLeftTask */

  uint32_t notify_value = 0;

  /* Infinite loop */
  for(;;)
  {
    if (xTaskNotifyWait(0, 0, &notify_value, 0) == pdTRUE) {
      if (notify_value == START_ACTION) {
        if (turn_controller.turn_state == EndTurn) {
          turn_controller.turn_state = PreTurn;
          turn_controller.turn_angular_direction = TurnLeft;
          t = 0;
        }
      }
      else if (notify_value == END_ACTION) {
        if (turn_controller.turn_state == Turning) {
          isStop = NEED_TO_STOP;
        }
      }

      if (turn_controller.turn_state != EndTurn) {
        Turn_FSM(&turn_controller, 0.04, 0.1, 0.03, robot_height);

        if (turn_controller.turn_state != EndTurn) {
          __HAL_TIM_CLEAR_IT(&htim2, TIM_IT_UPDATE);
          __HAL_TIM_SET_COUNTER(&htim2, 0);
          HAL_TIM_Base_Start_IT(&htim2);
        }
      }

      notify_value = 0;
    }

    osDelay(1);
  }
  /* USER CODE END TurnLeftTask */
}

void TurnRightTask(void *argument)
{
  /* USER CODE BEGIN TurnRightTask */

  uint32_t notify_value = 0;

  /* Infinite loop */
  for(;;)
  {
    if (xTaskNotifyWait(0, 0, &notify_value, 0) == pdTRUE) {
      if (notify_value == START_ACTION) {
        if (turn_controller.turn_state == EndTurn) {
          turn_controller.turn_state = PreTurn;
          turn_controller.turn_angular_direction = TurnRight;
          t = 0;
        }
      }
      else if (notify_value == END_ACTION) {
        if (turn_controller.turn_state == Turning) {
          isStop = NEED_TO_STOP;
        }
      }

      if (turn_controller.turn_state != EndTurn) {
        Turn_FSM(&turn_controller, 0.04, 0.1, 0.03, robot_height);

        if (turn_controller.turn_state != EndTurn) {
          __HAL_TIM_CLEAR_IT(&htim2, TIM_IT_UPDATE);
          __HAL_TIM_SET_COUNTER(&htim2, 0);
          HAL_TIM_Base_Start_IT(&htim2);
        }
      }

      notify_value = 0;
    }

    osDelay(1);
  }
  /* USER CODE END TurnRightTask */
}
